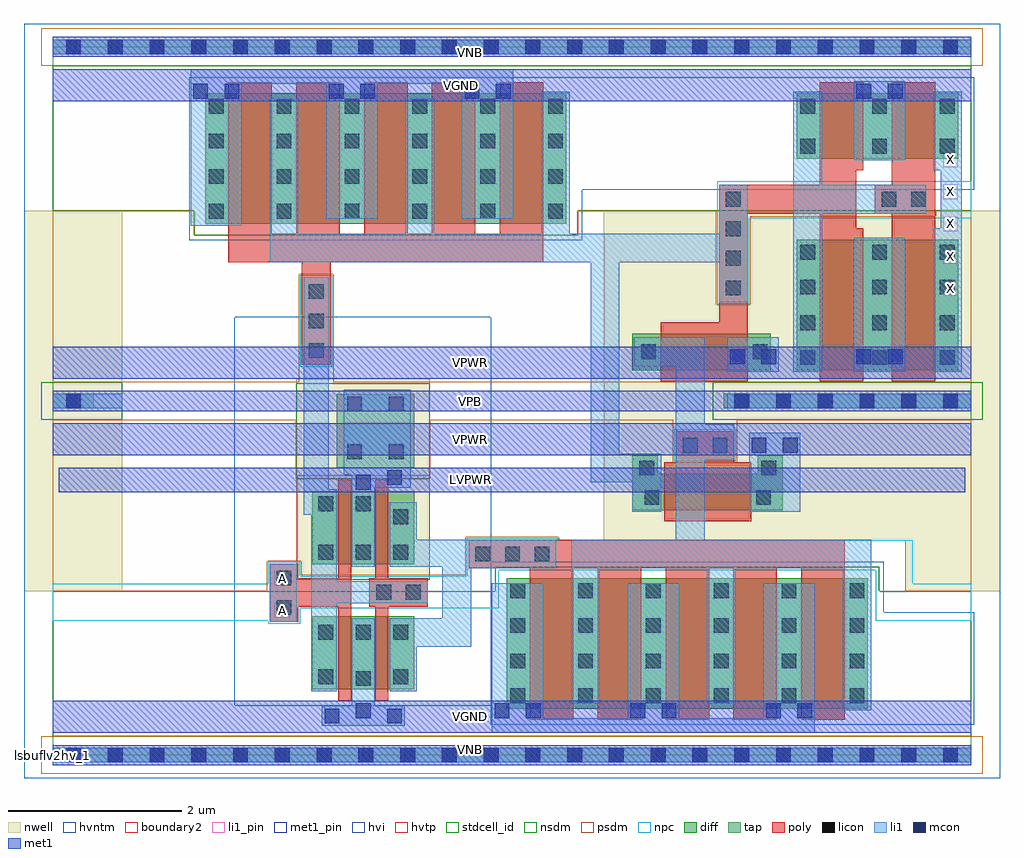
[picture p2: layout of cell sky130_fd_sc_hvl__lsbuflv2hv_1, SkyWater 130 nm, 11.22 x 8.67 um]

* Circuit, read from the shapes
.subckt sky130_fd_sc_hvl__lsbuflv2hv_1 A LVPWR VGND VNB VPB VPWR X
XM1 n1 n2 VGND VNB sky130_fd_pr__nfet_g5v0d10v5 w=1.5 l=0.5 m=5
XM2 VGND A n2 VNB sky130_fd_pr__nfet_01v8 w=0.84 l=0.15
XM3 n3 n2 VGND VNB sky130_fd_pr__nfet_01v8 w=0.84 l=0.15
XM4 n4 n3 VGND VNB sky130_fd_pr__nfet_g5v0d10v5 w=1.5 l=0.5 m=5
XM5 VGND n1 n5 VNB sky130_fd_pr__nfet_g5v0d10v5 w=0.75 l=0.5
XM6 X n5 VGND VNB sky130_fd_pr__nfet_g5v0d10v5 w=0.75 l=0.5
XM7 LVPWR A n2 LVPWR sky130_fd_pr__pfet_01v8_hvt w=0.84 l=0.15
XM8 n3 n2 LVPWR LVPWR sky130_fd_pr__pfet_01v8_hvt w=0.84 l=0.15
XM9 VPWR n1 n4 VPB sky130_fd_pr__pfet_g5v0d10v5 w=0.42 l=1
XM10 VPWR n4 n1 VPB sky130_fd_pr__pfet_g5v0d10v5 w=0.42 l=1
XM11 VPWR n1 n5 VPB sky130_fd_pr__pfet_g5v0d10v5 w=1.5 l=0.5
XM12 X n5 VPWR VPB sky130_fd_pr__pfet_g5v0d10v5 w=1.5 l=0.5
.ends

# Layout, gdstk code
import gdstk
lib = gdstk.Library(unit=1e-6, precision=1e-09)
def R(c, l, rs):  # rectangles x0, y0, x1, y1
    for r in rs: c.add(gdstk.rectangle(r[:2], r[2:], *l))
def A(c, l, x, y, w, h, nx, ny, dx, dy):  # array of equal rectangles
    R(c, l, [(x+i*dx, y+j*dy, x+i*dx+w, y+j*dy+h) for i in range(nx) for j in range(ny)])
def P(c, l, *ps):  # polygons
    for p in ps: c.add(gdstk.Polygon(p, *l))
nwell = (64, 20)
diff = (65, 20)
tap = (65, 44)
poly = (66, 20)
licon = (66, 44)
li1_pin = (67, 16)
li1 = (67, 20)
mcon = (67, 44)
met1_pin = (68, 16)
met1 = (68, 20)
hvi = (75, 20)
hvtp = (78, 44)
stdcell_id = (81, 4)
nsdm = (93, 44)
psdm = (94, 20)
npc = (95, 20)
hvntm = (125, 20)
boundary2 = (236, 0)

sky130_fd_sc_hvl__lsbufl = lib.new_cell('sky130_fd_sc_hvl__lsbuflv2hv_1')
R(sky130_fd_sc_hvl__lsbufl, nwell, [(-0.33,1.885,0.8,6.255), (2.8,2.015,4.335,4.325)])
P(sky130_fd_sc_hvl__lsbufl, nwell, [(10.89,6.255),(6.335,6.255),(6.335,2.465),(9.8,2.465),(9.8,1.885),(10.89,1.885)])
R(sky130_fd_sc_hvl__lsbufl, diff, [(5.22,0.535,9.37,2.035), (2.985,0.755,4.155,1.595), (2.985,2.195,4.155,3.035), (6.665,4.425,8.255,4.845), (8.555,4.425,10.41,5.925), (1.755,6.105,5.905,7.605), (8.555,6.855,10.41,7.605)])
P(sky130_fd_sc_hvl__lsbufl, diff, [(8.395,3.445),(8.105,3.445),(8.105,3.235),(6.955,3.235),(6.955,3.445),(6.665,3.445),(6.665,2.815),(8.395,2.815)])
R(sky130_fd_sc_hvl__lsbufl, tap, [(0,-0.085,10.56,0.085), (3.265,3.305,4.155,4.145), (0,3.985,0.47,4.155), (7.715,3.985,10.56,4.155), (0,8.055,10.56,8.225)])
P(sky130_fd_sc_hvl__lsbufl, poly, [(3.43,3.165),(3.28,3.165),(3.28,2.035),(2.825,2.035),(2.825,2.2),(2.495,2.2),(2.495,1.53),(2.825,1.53),(2.825,1.705),(3.28,1.705),(3.28,0.625),(3.43,0.625)],
  [(10.145,7.735),(9.645,7.735),(9.645,6.555),(9.45,6.555),(9.45,6.225),(9.645,6.225),(9.645,4.295),(10.145,4.295)],
  [(9.32,6.055),(9.24,6.055),(9.24,6.725),(9.32,6.725),(9.32,7.735),(8.82,7.735),(8.82,6.555),(7.66,6.555),(7.66,4.975),(6.99,4.975),(6.99,4.295),(7.99,4.295),(7.99,6.225),(8.82,6.225),(8.82,4.295),(9.32,4.295)],
  [(9.105,2.475),(4.78,2.475),(4.78,2.145),(5.485,2.145),(5.485,0.405),(5.985,0.405),(5.985,2.145),(6.265,2.145),(6.265,0.405),(6.765,0.405),(6.765,2.145),(7.045,2.145),(7.045,0.405),(7.545,0.405),(7.545,2.145),(7.825,2.145),(7.825,0.405),(8.325,0.405),(8.325,2.145),(8.605,2.145),(8.605,0.405),(9.105,0.405)],
  [(8.03,3.365),(7.835,3.365),(7.835,3.725),(7.165,3.725),(7.165,3.365),(7.03,3.365),(7.03,2.685),(8.03,2.685)],
  [(5.64,7.735),(5.14,7.735),(5.14,5.995),(4.86,5.995),(4.86,7.735),(4.36,7.735),(4.36,5.995),(4.08,5.995),(4.08,7.735),(3.58,7.735),(3.58,5.995),(3.3,5.995),(3.3,7.735),(2.8,7.735),(2.8,5.995),(2.52,5.995),(2.52,7.735),(2.02,7.735),(2.02,5.665),(2.865,5.665),(2.865,4.485),(3.195,4.485),(3.195,5.665),(5.64,5.665)],
  [(4.31,2.035),(3.86,2.035),(3.86,3.165),(3.71,3.165),(3.71,2.035),(3.64,2.035),(3.64,1.705),(3.71,1.705),(3.71,0.625),(3.86,0.625),(3.86,1.705),(4.31,1.705)])
A(sky130_fd_sc_hvl__lsbufl, licon, 0.155, -0.085, 0.17, 0.17, 22, 2, 0.48, 8.14)
A(sky130_fd_sc_hvl__lsbufl, licon, 5.26, 0.595, 0.17, 0.17, 6, 2, 0.78, 0.4)
A(sky130_fd_sc_hvl__lsbufl, licon, 3.055, 1.325, 0.17, 0.17, 3, 2, 0.43, 0.92)
A(sky130_fd_sc_hvl__lsbufl, licon, 5.26, 1.405, 0.17, 0.17, 6, 2, 0.78, 0.4)
A(sky130_fd_sc_hvl__lsbufl, licon, 4.86, 2.225, 0.17, 0.17, 3, 1, 0.34, 0)
A(sky130_fd_sc_hvl__lsbufl, licon, 7.835, 3.985, 0.17, 0.17, 6, 1, 0.48, 0)
A(sky130_fd_sc_hvl__lsbufl, licon, 2.945, 4.565, 0.17, 0.17, 1, 3, 0, 0.34)
A(sky130_fd_sc_hvl__lsbufl, licon, 7.74, 5.285, 0.17, 0.17, 1, 4, 0, 0.34)
A(sky130_fd_sc_hvl__lsbufl, licon, 1.795, 6.165, 0.17, 0.17, 6, 2, 0.78, 0.4)
A(sky130_fd_sc_hvl__lsbufl, licon, 1.795, 6.975, 0.17, 0.17, 6, 2, 0.78, 0.4)
R(sky130_fd_sc_hvl__lsbufl, licon, [(3.485,0.795,3.655,0.965), (3.055,0.815,3.225,0.985), (3.915,0.815,4.085,0.985), (2.575,1.61,2.745,1.78), (3.72,1.785,3.89,1.955), (4.06,1.785,4.23,1.955), (2.575,1.95,2.745,2.12), (3.915,2.655,4.085,2.825), (3.055,2.805,3.225,2.975), (3.485,2.805,3.655,2.975), (6.805,2.875,6.975,3.045), (8.085,2.875,8.255,3.045), (6.745,3.215,6.915,3.385), (8.145,3.215,8.315,3.385), (3.385,3.4,3.555,3.57), (3.865,3.4,4.035,3.57), (7.245,3.475,7.415,3.645), (7.585,3.475,7.755,3.645), (3.385,3.95,3.555,4.12), (3.865,3.95,4.035,4.12), (0.155,3.985,0.325,4.155), (8.595,4.485,8.765,4.655), (9.42,4.485,9.59,4.655), (10.2,4.485,10.37,4.655), (6.765,4.55,6.935,4.72), (8.045,4.55,8.215,4.72), (8.595,4.885,8.765,5.055), (9.42,4.885,9.59,5.055), (10.2,4.885,10.37,5.055), (8.595,5.295,8.765,5.465), (9.42,5.295,9.59,5.465), (10.2,5.295,10.37,5.465), (8.595,5.695,8.765,5.865), (9.42,5.695,9.59,5.865), (10.2,5.695,10.37,5.865), (9.53,6.305,9.7,6.475), (9.87,6.305,10.04,6.475), (8.595,6.915,8.765,7.085), (9.42,6.915,9.59,7.085), (10.2,6.915,10.37,7.085), (8.595,7.375,8.765,7.545), (9.42,7.375,9.59,7.545), (10.2,7.375,10.37,7.545)])
A(sky130_fd_sc_hvl__lsbufl, li1_pin, 10.235, 5.28, 0.17, 0.17, 1, 5, 0, 0.37)
R(sky130_fd_sc_hvl__lsbufl, li1_pin, [(2.555,1.58,2.725,1.75), (2.555,1.95,2.725,2.12)])
R(sky130_fd_sc_hvl__lsbufl, li1, [(0,-0.085,10.56,0.085), (2.495,1.53,2.805,2.2), (8.005,2.795,8.595,3.705), (0,3.985,0.8,4.155), (7.755,3.985,10.56,4.155), (7.755,4.405,8.345,4.8), (9.21,4.405,9.8,5.945), (9.21,6.835,9.8,7.745), (0,8.055,10.56,8.225)])
P(sky130_fd_sc_hvl__lsbufl, li1, [(5.295,7.885),(1.585,7.885),(1.585,6.085),(2.175,6.085),(2.175,7.715),(3.145,7.715),(3.145,6.165),(3.735,6.165),(3.735,7.715),(4.705,7.715),(4.705,6.165),(5.295,6.165)],
  [(4.31,1.995),(3.265,1.995),(3.265,3.055),(3.175,3.055),(3.175,5.495),(2.885,5.495),(2.885,2.765),(2.975,2.765),(2.975,0.735),(3.265,0.735),(3.265,1.745),(4.31,1.745)],
  [(9.41,2.475),(7.495,2.475),(7.495,3.395),(7.835,3.395),(7.835,3.805),(7.495,3.805),(7.495,4.8),(6.685,4.8),(6.685,4.47),(7.165,4.47),(7.165,2.475),(5.96,2.475),(5.96,0.595),(6.29,0.595),(6.29,2.145),(7.52,2.145),(7.52,0.595),(7.85,0.595),(7.85,2.145),(9.08,2.145),(9.08,0.515),(9.41,0.515)],
  [(8.76,1.975),(8.17,1.975),(8.17,0.425),(7.2,0.425),(7.2,1.975),(6.61,1.975),(6.61,0.425),(5.64,0.425),(5.64,1.975),(5.05,1.975),(5.05,0.255),(8.76,0.255)],
  [(4.045,0.565),(3.705,0.565),(3.705,1.575),(3.435,1.575),(3.435,0.565),(3.095,0.565),(3.095,0.335),(4.045,0.335)],
  [(10.04,6.555),(8.845,6.555),(8.845,7.625),(8.515,7.625),(8.515,4.405),(8.845,4.405),(8.845,6.225),(10.04,6.225)],
  [(7.99,6.555),(7.66,6.555),(7.66,5.995),(5.945,5.995),(5.945,7.625),(5.615,7.625),(5.615,5.995),(4.385,5.995),(4.385,7.545),(4.055,7.545),(4.055,5.995),(2.825,5.995),(2.825,7.545),(2.495,7.545),(2.495,5.665),(6.185,5.665),(6.185,3.135),(6.665,3.135),(6.665,2.795),(6.995,2.795),(6.995,3.465),(6.515,3.465),(6.515,5.665),(7.66,5.665),(7.66,5.205),(7.99,5.205)],
  [(5.79,2.475),(4.185,2.475),(4.185,2.905),(3.875,2.905),(3.875,2.165),(4.48,2.165),(4.48,1.575),(3.875,1.575),(3.875,0.735),(4.185,0.735),(4.185,1.245),(4.81,1.245),(4.81,2.145),(5.79,2.145)],
  [(4.115,4.2),(3.345,4.2),(3.345,3.225),(3.435,3.225),(3.435,2.165),(3.705,2.165),(3.705,3.075),(4.115,3.075)],
  [(10.45,7.625),(10.12,7.625),(10.12,6.725),(10.21,6.725),(10.21,6.055),(10.12,6.055),(10.12,4.405),(10.45,4.405)])
A(sky130_fd_sc_hvl__lsbufl, mcon, 0.155, -0.085, 0.17, 0.17, 22, 2, 0.48, 8.14)
A(sky130_fd_sc_hvl__lsbufl, mcon, 7.835, 3.985, 0.17, 0.17, 6, 1, 0.48, 0)
R(sky130_fd_sc_hvl__lsbufl, mcon, [(3.125,0.365,3.295,0.535), (3.845,0.365,4.015,0.535), (3.485,0.425,3.655,0.595), (5.08,0.425,5.25,0.595), (5.44,0.425,5.61,0.595), (6.64,0.425,6.81,0.595), (7,0.425,7.17,0.595), (8.2,0.425,8.37,0.595), (8.56,0.425,8.73,0.595), (3.485,3.05,3.655,3.22), (3.845,3.105,4.015,3.275), (8.035,3.475,8.205,3.645), (8.395,3.475,8.565,3.645), (0.155,3.985,0.325,4.155), (7.785,4.495,7.955,4.665), (8.145,4.495,8.315,4.665), (9.24,4.495,9.41,4.665), (9.6,4.495,9.77,4.665), (1.615,7.545,1.785,7.715), (1.975,7.545,2.145,7.715), (3.175,7.545,3.345,7.715), (3.535,7.545,3.705,7.715), (4.735,7.545,4.905,7.715), (5.095,7.545,5.265,7.715), (9.24,7.545,9.41,7.715), (9.6,7.545,9.77,7.715)])
R(sky130_fd_sc_hvl__lsbufl, met1_pin, [(0,0,10.56,0.115), (0,0.255,10.56,0.625), (0.07,3.02,10.49,3.305), (0,3.445,10.56,3.815), (0,3.955,10.56,4.185), (0,4.325,10.56,4.695), (0,7.515,10.56,7.885), (0,8.025,10.56,8.14)])
A(sky130_fd_sc_hvl__lsbufl, met1, 0, -0.115, 10.56, 0.23, 1, 3, 0, 4.07)
R(sky130_fd_sc_hvl__lsbufl, met1, [(0,0.255,10.56,0.625), (0.07,3.02,10.49,3.305), (0,3.445,10.56,3.815), (0,4.325,10.56,4.695), (0,7.515,10.56,7.885)])
P(sky130_fd_sc_hvl__lsbufl, hvi, [(10.89,8.405),(5.035,8.405),(5.035,0.575),(2.095,0.575),(2.095,5.035),(5.035,5.035),(5.035,8.405),(-0.33,8.405),(-0.33,-0.265),(10.89,-0.265)])
R(sky130_fd_sc_hvl__lsbufl, hvtp, [(2.805,2.015,4.335,3.215)])
R(sky130_fd_sc_hvl__lsbufl, stdcell_id, [(0,0,10.56,8.14)])
R(sky130_fd_sc_hvl__lsbufl, nsdm, [(2.8,3.175,4.335,4.275), (-0.13,3.855,0.8,4.285), (7.585,3.855,10.69,4.285)])
P(sky130_fd_sc_hvl__lsbufl, nsdm, [(10.56,7.925),(0,7.925),(0,6.255),(1.625,6.255),(1.625,5.975),(6.035,5.975),(6.035,6.255),(10.56,6.255)],
  [(10.56,1.885),(9.5,1.885),(9.5,2.165),(5.09,2.165),(5.09,1.885),(0,1.885),(0,0.215),(10.56,0.215)])
R(sky130_fd_sc_hvl__lsbufl, psdm, [(-0.13,-0.215,10.69,0.215), (-0.13,7.925,10.69,8.355)])
P(sky130_fd_sc_hvl__lsbufl, psdm, [(10.56,6.255),(10.15,6.255),(10.15,6.195),(8.02,6.195),(8.02,5.175),(7.63,5.175),(7.63,6.255),(6.035,6.255),(6.035,5.975),(1.625,5.975),(1.625,6.255),(0,6.255),(0,4.285),(2.835,4.285),(2.835,5.525),(3.225,5.525),(3.225,4.285),(10.56,4.285)],
  [(10.56,3.855),(7.865,3.855),(7.865,3.365),(7.135,3.365),(7.135,3.855),(4.335,3.855),(4.335,3.175),(2.8,3.175),(2.8,3.855),(0,3.855),(0,1.885),(2.465,1.885),(2.465,2.23),(2.855,2.23),(2.855,2.065),(4.75,2.065),(4.75,2.505),(5.82,2.505),(5.82,2.465),(9.8,2.465),(9.8,1.885),(10.56,1.885)])
R(sky130_fd_sc_hvl__lsbufl, npc, [(7.145,3.375,7.855,3.745), (2.845,4.465,3.215,5.515)])
P(sky130_fd_sc_hvl__lsbufl, npc, [(10.56,6.595),(7.64,6.595),(7.64,5.185),(8.01,5.185),(8.01,6.17),(10.56,6.17)],
  [(10.56,1.97),(9.885,1.97),(9.885,2.47),(5.81,2.47),(5.81,2.495),(4.76,2.495),(4.76,2.055),(2.845,2.055),(2.845,2.22),(2.475,2.22),(2.475,1.97),(0,1.97),(0,1.545),(2.475,1.545),(2.475,1.51),(2.845,1.51),(2.845,1.685),(5.13,1.685),(5.13,2.125),(9.46,2.125),(9.46,1.545),(10.56,1.545)])
P(sky130_fd_sc_hvl__lsbufl, hvntm, [(10.595,1.64),(9.555,1.64),(9.555,2.22),(5.035,2.22),(5.035,0.35),(10.595,0.35)],
  [(10.595,7.79),(1.57,7.79),(1.57,5.92),(6.09,5.92),(6.09,6.5),(10.595,6.5)])
R(sky130_fd_sc_hvl__lsbufl, boundary2, [(0,0,10.56,8.14)])
sky130_fd_sc_hvl__lsbufl.add(gdstk.Label('lsbuflv2hv_1', (0,0), layer=83, texttype=44))
sky130_fd_sc_hvl__lsbufl.add(gdstk.Label('VPWR', (4.8,4.51), layer=68, texttype=5))
sky130_fd_sc_hvl__lsbufl.add(gdstk.Label('VPWR', (4.8,3.63), layer=68, texttype=5))
sky130_fd_sc_hvl__lsbufl.add(gdstk.Label('VGND', (4.7,7.7), layer=68, texttype=5))
sky130_fd_sc_hvl__lsbufl.add(gdstk.Label('VGND', (4.8,0.44), layer=68, texttype=5))
sky130_fd_sc_hvl__lsbufl.add(gdstk.Label('VNB', (4.8,0.058), layer=68, texttype=5))
sky130_fd_sc_hvl__lsbufl.add(gdstk.Label('LVPWR', (4.8,3.165), layer=68, texttype=5))
sky130_fd_sc_hvl__lsbufl.add(gdstk.Label('VPB', (4.8,4.068), layer=68, texttype=5))
sky130_fd_sc_hvl__lsbufl.add(gdstk.Label('VNB', (4.8,8.082), layer=68, texttype=5))
sky130_fd_sc_hvl__lsbufl.add(gdstk.Label('A', (2.64,2.035), layer=67, texttype=5))
sky130_fd_sc_hvl__lsbufl.add(gdstk.Label('A', (2.64,1.665), layer=67, texttype=5))
sky130_fd_sc_hvl__lsbufl.add(gdstk.Label('X', (10.32,6.105), layer=67, texttype=5))
sky130_fd_sc_hvl__lsbufl.add(gdstk.Label('X', (10.32,5.735), layer=67, texttype=5))
sky130_fd_sc_hvl__lsbufl.add(gdstk.Label('X', (10.32,5.365), layer=67, texttype=5))
sky130_fd_sc_hvl__lsbufl.add(gdstk.Label('X', (10.32,6.475), layer=67, texttype=5))
sky130_fd_sc_hvl__lsbufl.add(gdstk.Label('X', (10.32,6.845), layer=67, texttype=5))

lib.write_gds('sky130_fd_sc_hvl__lsbuflv2hv_1.gds')
